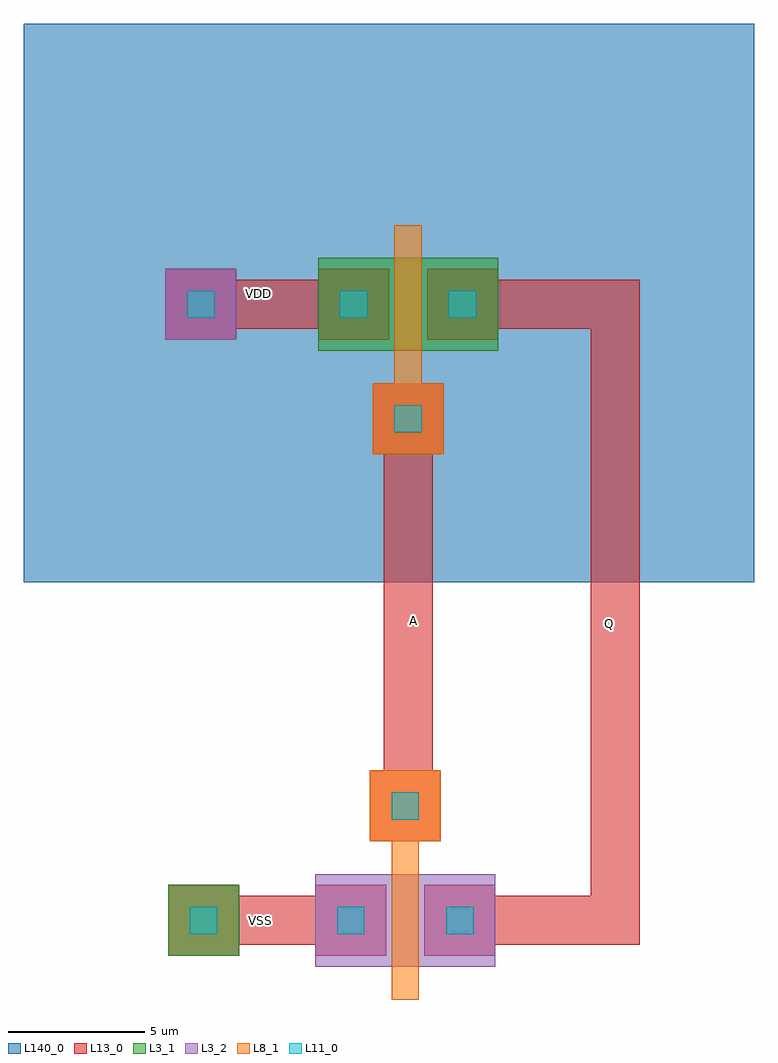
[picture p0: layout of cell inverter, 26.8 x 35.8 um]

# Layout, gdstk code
import gdstk
lib = gdstk.Library(unit=1e-6, precision=1e-07)
def R(c, l, rs):  # rectangles x0, y0, x1, y1
    for r in rs: c.add(gdstk.rectangle(r[:2], r[2:], *l))
L3_1 = (3, 1)
L3_2 = (3, 2)
L8_1 = (8, 1)
L11_0 = (11, 0)
L13_0 = (13, 0)
L140_0 = (140, 0)

fet_p = lib.new_cell('fet_p')
R(fet_p, L3_1, [(-3.3,-1.7,3.3,1.7)])
R(fet_p, L11_0, [(-2.5,-0.5,-1.5,0.5), (1.5,-0.5,2.5,0.5)])
R(fet_p, L13_0, [(-3.3,-1.3,-0.7,1.3), (0.7,-1.3,3.3,1.3)])
fet_p.add(gdstk.FlexPath([(0,-2.9),(0,2.9)], 1, ends="flush", simple_path=True, layer=8, datatype=1))  # L8_1

fet_n = lib.new_cell('fet_n')
R(fet_n, L3_2, [(-3.3,-1.7,3.3,1.7)])
R(fet_n, L11_0, [(-2.5,-0.5,-1.5,0.5), (1.5,-0.5,2.5,0.5)])
R(fet_n, L13_0, [(-3.3,-1.3,-0.7,1.3), (0.7,-1.3,3.3,1.3)])
fet_n.add(gdstk.FlexPath([(0,-2.9),(0,2.9)], 1, ends="flush", simple_path=True, layer=8, datatype=1))  # L8_1

cont_g = lib.new_cell('cont_g')
R(cont_g, L8_1, [(-1.3,-1.3,1.3,1.3)])
R(cont_g, L11_0, [(-0.5,-0.5,0.5,0.5)])
R(cont_g, L13_0, [(-1.3,-1.3,1.3,1.3)])

cont_n = lib.new_cell('cont_n')
R(cont_n, L3_2, [(-1.3,-1.3,1.3,1.3)])
R(cont_n, L11_0, [(-0.5,-0.5,0.5,0.5)])
R(cont_n, L13_0, [(-1.3,-1.3,1.3,1.3)])

cont_p = lib.new_cell('cont_p')
R(cont_p, L3_1, [(-1.3,-1.3,1.3,1.3)])
R(cont_p, L11_0, [(-0.5,-0.5,0.5,0.5)])
R(cont_p, L13_0, [(-1.3,-1.3,1.3,1.3)])

inverter = lib.new_cell('inverter')
R(inverter, L140_0, [(-15.6,-10.3,11.2,10.2)])
inverter.add(gdstk.FlexPath([(-1.5,-5.2),(-1.5,-17.5)], 1.8, ends="flush", simple_path=True, layer=13, datatype=0))  # L13_0
inverter.add(gdstk.FlexPath([(-3.5,-0.1),(-8.2,-0.1)], 1.8, ends="flush", simple_path=True, layer=13, datatype=0))  # L13_0
inverter.add(gdstk.FlexPath([(-4.4,-22.7),(-8,-22.7)], 1.8, ends="flush", simple_path=True, layer=13, datatype=0))  # L13_0
inverter.add(gdstk.FlexPath([(1.4,-0.1),(6.1,-0.1),(6.1,-22.7),(0.5,-22.7)], 1.8, ends="flush", simple_path=True, layer=13, datatype=0))  # L13_0
inverter.add(gdstk.Reference(fet_p, (-1.5,-0.1)))
inverter.add(gdstk.Reference(fet_n, (-1.6,-22.7)))
inverter.add(gdstk.Reference(cont_g, (-1.5,-4.3)))
inverter.add(gdstk.Reference(cont_g, (-1.6,-18.5)))
inverter.add(gdstk.Reference(cont_n, (-9.1,-0.1)))
inverter.add(gdstk.Reference(cont_p, (-9,-22.7)))
inverter.add(gdstk.Label('VDD', (-7,0.3), layer=48, texttype=0))
inverter.add(gdstk.Label('VSS', (-6.9,-22.7), layer=48, texttype=0))
inverter.add(gdstk.Label('A', (-1.3,-11.7), layer=48, texttype=0))
inverter.add(gdstk.Label('Q', (5.9,-11.8), layer=48, texttype=0))

lib.write_gds('inverter.gds')
